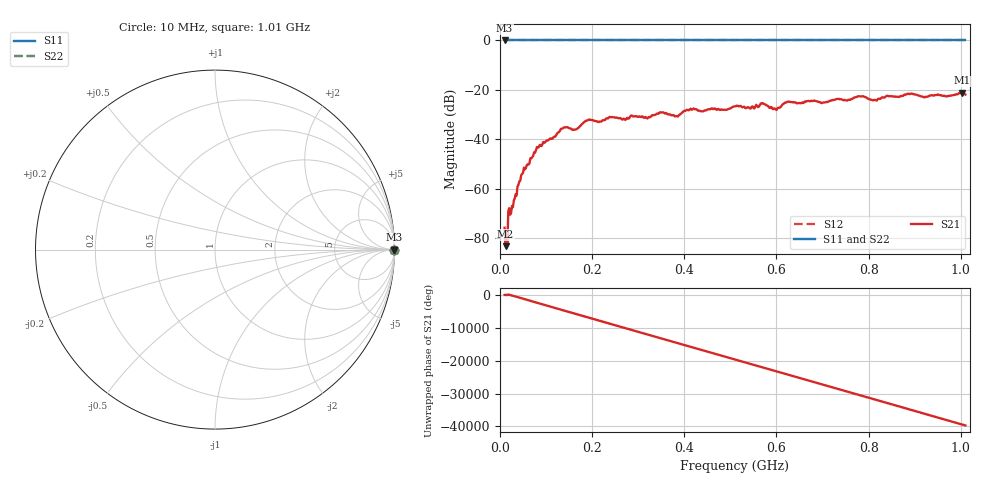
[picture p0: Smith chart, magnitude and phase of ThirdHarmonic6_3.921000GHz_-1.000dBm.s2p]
! 8/17/2025 1:50:17 PM
! C:\ANRITSUVNA\TEMP\TEMP.S2P
! CHANNEL.1
! TR.MEASUREMENT
! RAW.DATA
! RF.CORRECTION.OFF
! AVERAGING.OFF
! IF.BANDWIDTH: 5KHZ
! SWEEPTYPE:  FREQ.SWEEP(Linear)
! Reference Plane Port Info
! PORT:  PORT1  PORT2
! DISTANCE:  0  m  0  m
! TIME:  0  s  0  s
! PHASE.OFFSET:  0  deg.  0  deg.
! LOSS:  0  dB  0  dB
! REF.LOSS:  0  dB  0  dB
! REF.FREQ:  0  Hz  0  Hz
! Power Info
! POWER:  -20  dBm  -20  dBm
! EFF.POWER:  -20  dBm  -20  dBm
! SOURCE.ATTEN:  0  dB  0  dB
! TEST.ATTEN:  0  dB  0  dB
# GHZ S RI R 50.0
! FREQ.GHZ  S11RE  S11IM  S21RE  S21IM  S12RE  S12IM  S22RE  S22IM
!; PortSelection: Port_12
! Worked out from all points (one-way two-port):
!   501 points, 10 MHz to 1.01 GHz, reference 50 ohm
!   highest |S21| = -21.21 dB at 1.002 GHz (marker M1); lowest = -83.3 dB at 12 MHz (marker M2)
!   lowest |S11| = 0.0 dB at 10 MHz (marker M3)
!   |S11| at or under -10 dB: nowhere
!   |S22| runs from 0.0 to 0.0 dB; largest |S21 - S12| = 1.1
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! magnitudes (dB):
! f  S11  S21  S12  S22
! 10 MHz  0.0  -75.8  0.0  0.0
! 12 MHz  0.0  -83.3  0.0  0.0
! 22 MHz  0.0  -70.6  0.0  0.0
! 26 MHz  0.0  -67.1  0.0  0.0
! 48 MHz  0.0  -54.1  0.0  0.0
! 78 MHz  0.0  -44.5  0.0  0.0
! 136 MHz  0.0  -35.7  0.0  0.0
! 162 MHz  0.0  -36.1  0.0  0.0
! 178 MHz  0.0  -33.9  0.0  0.0
! 344 MHz  0.0  -29.7  0.0  0.0
! 384 MHz  0.0  -30.7  0.0  0.0
! 416 MHz  0.0  -28.1  0.0  0.0
! 510 MHz  0.0  -26.7  0.0  0.0
! 570 MHz  0.0  -25.3  0.0  0.0
! 596 MHz  0.0  -27.5  0.0  0.0
! 622 MHz  0.0  -25.0  0.0  0.0
! 678 MHz  0.0  -24.5  0.0  0.0
! 782 MHz  0.0  -22.7  0.0  0.0
! 814 MHz  0.0  -24.1  0.0  0.0
! 844 MHz  0.0  -22.6  0.0  0.0
! 1.002 GHz  0.0  -21.2  0.0  0.0
! 1.01 GHz  0.0  -21.9  0.0  0.0
